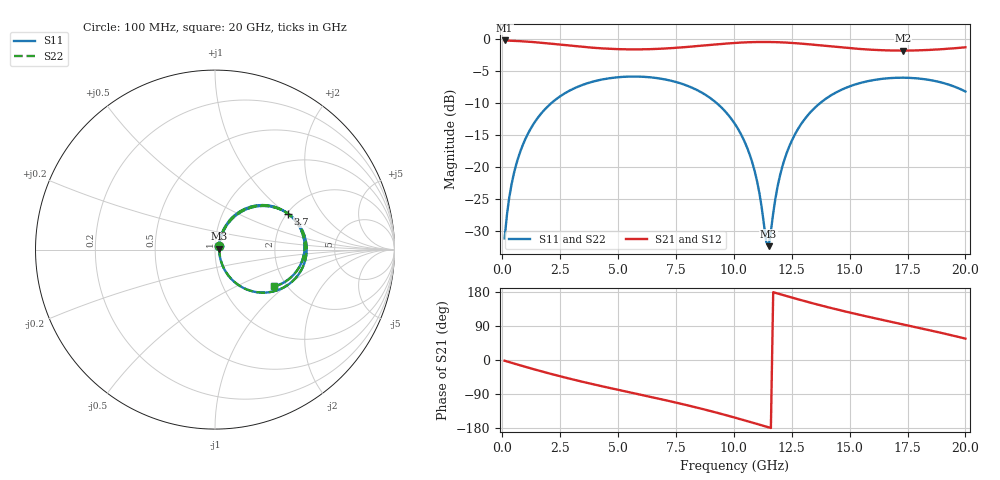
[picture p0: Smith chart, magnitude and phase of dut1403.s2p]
! Touchstone file exported from HFSS 2026.1.0
!  File:  C:/ffzhzh/LocalFiles/Ansys_Project_Files/temp_train_TSV_RDL_1403_1783352102_37376.aedt
!  Generated:  11:47:55 PM Jul  6, 2026
!  Design:  TSV_RDL
!  Project:  temp_train_TSV_RDL_1403_1783352102_37376
! Variables:
!  h_bsmrdl = 3.87um
!  h_ox = 20um
!  h_rdl = 5um
!  h_sub = 64.12um
!  h_tmrdl = 3.71um
!  h_tsv = 64.12um
!  h_via = 3um
!  l_bsmrdl = 541.55um
!  l_sub = 5417.4um
!  l_tmrdl = 810.14um
!  m_sub = 200um
!  pitch = 50.37um
!  r_tsv = 6.69um
!  s_tmrdl = 10um
!  w_bsmrdl = 26.37um
!  w_sub = 500um
!  w_tmrdl = 24.36um
!  x_tsv_center1 = 822.32um
!  x_tsv_center2 = 1390.24um
!  x_tsv_center3 = 2224.74um
!  x_tsv_center4 = 2792.66um
!  x_tsv_center5 = 3627.16um
!  x_tsv_center6 = 4195.08um
# GHz S MA R 50.000000
! Terminal data exported
! Port[1] = TM_RDL1_1_T1
! Port[2] = TM_RDL5_1_T1
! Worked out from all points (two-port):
!   200 points, 100 MHz to 20 GHz, reference 50 ohm
!   highest |S21| = -0.18 dB at 100 MHz (marker M1); lowest = -1.8 dB at 17.3 GHz (marker M2)
!   |S21| within 3 dB of the highest: start of sweep to end of sweep
!   lowest |S11| = -32.5 dB at 11.5 GHz (marker M3), VSWR 1.05, Z = 52.4 + j0.536 ohm
!   |S11| at or under -10 dB: start of sweep to 2.122 GHz; 9.256 GHz to 13.73 GHz (4.472 GHz wide, 38.9 % of centre)
!   |S22| runs from -32.3 to -5.8 dB; largest |S21 - S12| = 1.7e-14
!   S11 on the Smith chart (normalised r, x): 100 MHz: 1.04, +0.04; 3.7 GHz: 2.03, +1.02; 20 GHz: 1.73, -0.84
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0.1  0.02745 40.3  0.9795 -1.9  0.9795 -1.9  0.02745 40.3
! Gamma 0 0 0 0
! Port Impedance 50 0 50 0
0.3  0.05737 61.3  0.9761 -5.6  0.9761 -5.6  0.05737 61.3
0.5  0.08857 65.2  0.9726 -9.2  0.9726 -9.2  0.08857 65.2
1.1  0.1806 62.2  0.9586 -19.8  0.9586 -19.8  0.1806 62.2
2.1  0.3138 48.7  0.9236 -36.6  0.9236 -36.6  0.3138 48.7
3.5  0.4412 28.8  0.8713 -58.0  0.8713 -58.0  0.4412 28.9
3.7  0.4538 26.1  0.865 -60.9  0.865 -60.9  0.4538 26.1
5.3  0.5087 5.2  0.8348 -82.7  0.8348 -82.7  0.5087 5.2
6.8  0.4927 -14.0  0.8427 -102.7  0.8427 -102.7  0.4927 -13.9
8.7  0.3741 -39.7  0.8943 -130.1  0.8943 -130.1  0.3741 -39.6
10.1  0.2094 -59.1  0.9379 -153.0  0.9379 -153.0  0.2095 -59.0
10.9  0.09246 -64.5  0.9516 -166.9  0.9516 -166.9  0.0926 -64.2
11.1  0.06274 -60.7  0.953 -170.5  0.953 -170.5  0.06294 -60.3
11.4  0.02577 -22.8  0.9533 -175.8  0.9533 -175.8  0.0262 -22.4
11.5  0.02384 12.4  0.9529 -177.6  0.9529 -177.6  0.0243 12.1
11.9  0.07159 64.6  0.949 175.3  0.949 175.3  0.07171 64.3
12.2  0.1161 66.9  0.9439 170.1  0.9439 170.1  0.1161 66.7
13.4  0.279 54.0  0.9086 149.8  0.9086 149.8  0.279 53.9
14.9  0.4206 33.5  0.8555 126.8  0.8555 126.8  0.4205 33.4
16.7  0.4956 10.3  0.8179 102.0  0.8179 102.0  0.4955 10.3
17.3  0.4999 2.8  0.8155 94.0  0.8155 94.0  0.4998 2.8
20  0.3897 -31.8  0.8654 56.4  0.8654 56.4  0.3896 -31.8
